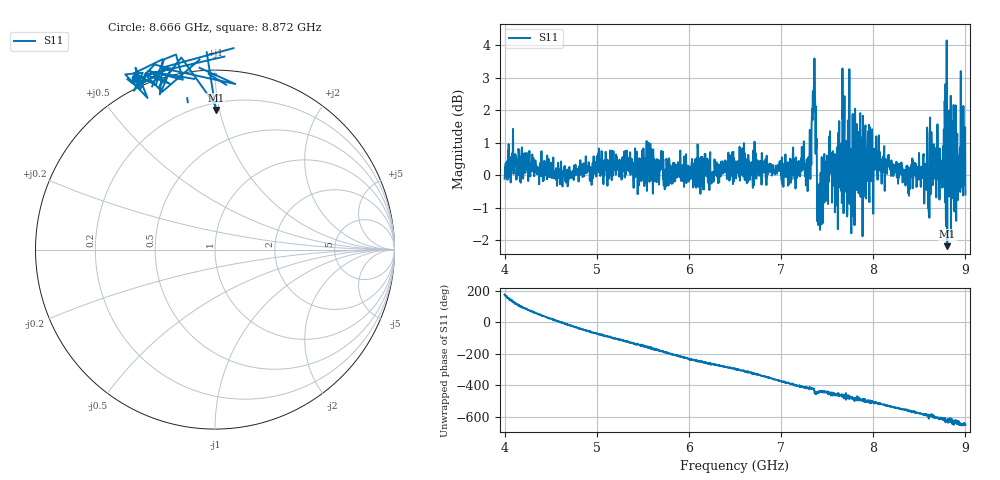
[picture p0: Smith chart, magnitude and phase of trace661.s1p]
! Created with skrf 1.8.0 (http://scikit-rf.org).
# Hz S RI R 50.0
!freq ReS11 ImS11
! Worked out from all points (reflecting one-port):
!   1601 points, 4 GHz to 9 GHz, reference 50 ohm
!   lowest |S11| = -2.2 dB at 8.803 GHz (marker M1), VSWR 8.00, Z = 12.4 + j48.7 ohm
!   phase of S11 starts at 177 deg and turns -828 deg over the sweep
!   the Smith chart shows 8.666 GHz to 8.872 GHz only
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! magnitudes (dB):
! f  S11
! 4 GHz  -0.1
! 4.1 GHz  0.4
! 4.625 GHz  -0.3
! 5.25 GHz  0.4
! 5.566 GHz  0.0
! 5.75 GHz  -0.3
! 5.875 GHz  0.0
! 6.5 GHz  0.4
! 7.125 GHz  0.4
! 7.294 GHz  0.1
! 7.356 GHz  2.7
! 7.412 GHz  -0.6
! 7.525 GHz  1.2
! 7.591 GHz  0.6
! 7.688 GHz  2.4
! 7.7 GHz  -0.3
! 7.75 GHz  0.0
! 7.769 GHz  -0.8
! 7.828 GHz  0.1
! 7.897 GHz  0.6
! 8.038 GHz  0.5
! 8.375 GHz  -0.2
! 8.441 GHz  0.0
! 8.616 GHz  1.8
! 8.803 GHz  -2.2
! 8.919 GHz  -0.3
! 8.972 GHz  0.2
! 9 GHz  -0.6
